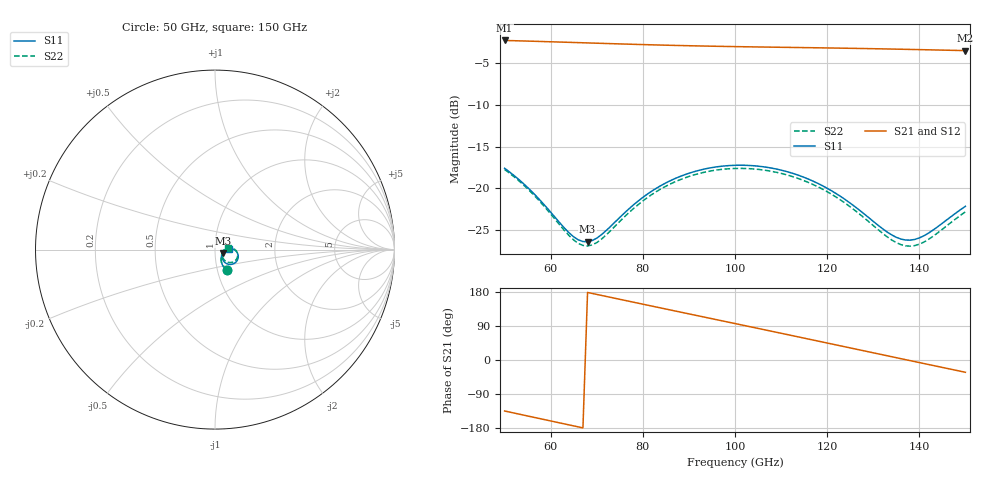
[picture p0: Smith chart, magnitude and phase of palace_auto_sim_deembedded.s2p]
! Created with skrf 1.11.0 (http://scikit-rf.org).
# GHz S DB R 50.0
!freq dBS11 angS11 dBS21 angS21 dBS12 angS12 dBS22 angS22
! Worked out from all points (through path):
!   101 points, 50 GHz to 150 GHz, reference 50 ohm
!   highest |S21| = -2.25 dB at 50 GHz (marker M1); lowest = -3.5 dB at 150 GHz (marker M2)
!   group delay of S21, straight-line fit = 7.15 ps
!   lowest |S11| = -26.4 dB at 68 GHz (marker M3), VSWR 1.10, Z = 54.4 - j2.37 ohm
!   |S11| at or under -10 dB: start of sweep to end of sweep
!   |S22| runs from -26.9 to -17.6 dB; largest |S21 - S12| = 4.6e-16
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50  -17.59 -60.2  -2.25 -134.6  -2.25 -134.6  -17.73 -59.4
55  -19.89 -64.0  -2.33 -147.7  -2.33 -147.7  -20.05 -63.2
59  -22.22 -62.6  -2.40 -158.2  -2.40 -158.2  -22.42 -62.0
64  -25.33 -49.3  -2.48 -171.3  -2.48 -171.3  -25.67 -48.9
67  -26.37 -33.0  -2.53 -179.1  -2.53 -179.1  -26.84 -32.2
68  -26.40 -27.0  -2.55 178.3  -2.55 178.3  -26.90 -25.9
71  -25.56 -11.2  -2.60 170.5  -2.60 170.5  -26.10 -9.1
76  -22.95 1.4  -2.69 157.6  -2.69 157.6  -23.42 4.4
80  -21.08 2.7  -2.75 147.3  -2.75 147.3  -21.50 6.0
84  -19.64 0.2  -2.81 137.1  -2.81 137.1  -20.04 3.7
92  -17.86 -9.8  -2.91 116.6  -2.91 116.6  -18.24 -5.9
100  -17.23 -22.3  -2.99 96.2  -2.99 96.2  -17.61 -18.1
108  -17.57 -35.1  -3.06 75.7  -3.06 75.7  -17.96 -30.6
112  -18.11 -41.1  -3.09 65.4  -3.09 65.4  -18.50 -36.4
117  -19.14 -47.6  -3.13 52.6  -3.13 52.6  -19.55 -42.8
122  -20.64 -52.0  -3.17 39.7  -3.17 39.7  -21.06 -47.3
126  -22.18 -52.9  -3.20 29.3  -3.20 29.3  -22.63 -48.2
134  -25.58 -39.9  -3.29 8.7  -3.29 8.7  -26.18 -35.1
137  -26.19 -28.4  -3.32 1.0  -3.32 1.0  -26.89 -23.1
140  -25.94 -16.2  -3.35 -6.8  -3.35 -6.8  -26.69 -10.2
145  -24.18 -2.8  -3.41 -19.6  -3.41 -19.6  -24.90 4.3
150  -22.15 0.8  -3.47 -32.4  -3.47 -32.4  -22.81 8.5
